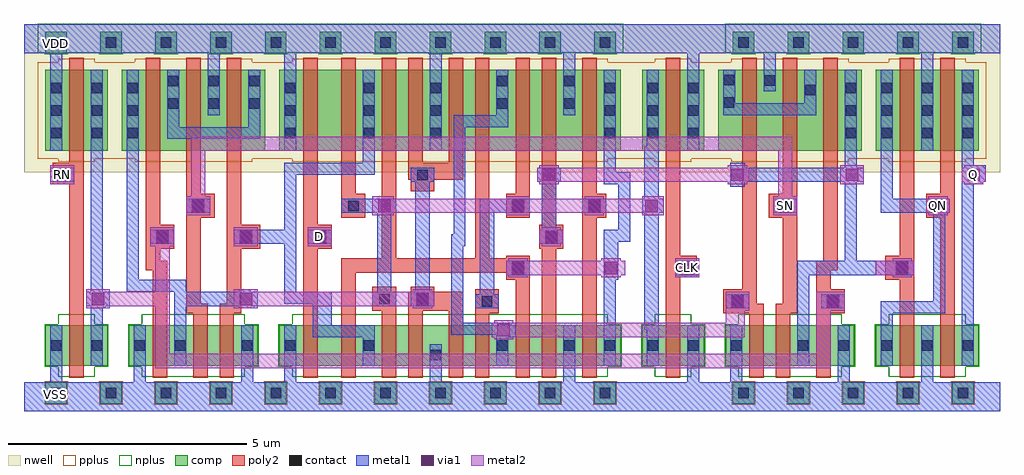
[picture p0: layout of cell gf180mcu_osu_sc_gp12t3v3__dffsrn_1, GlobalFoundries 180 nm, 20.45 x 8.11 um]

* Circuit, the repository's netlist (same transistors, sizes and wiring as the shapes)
* Copyright 2022 Google LLC
*
* Licensed under the Apache License, Version 2.0 (the "License");
* you may not use this file except in compliance with the License.
* You may obtain a copy of the License at
*
*      http://www.apache.org/licenses/LICENSE-2.0
*
* Unless required by applicable law or agreed to in writing, software
* distributed under the License is distributed on an "AS IS" BASIS,
* WITHOUT WARRANTIES OR CONDITIONS OF ANY KIND, either express or implied.
* See the License for the specific language governing permissions and
* limitations under the License.

.inc "/import/yukari1/lrburle/OSU_180/char/techfiles/design.hspice"
.lib "/import/yukari1/lrburle/OSU_180/char/techfiles/sm141064.hspice" typical

.GLOBAL VDD
.GLOBAL VSS

.option scale=0.05u

.subckt gf180mcu_osu_sc_gp12t3v3__dffsrn_1 D SN RN Q QN CLK
X0 a_156_109 a_133_14 a_82_14 VDD pmos_3p3 w=34 l=6
X1 VSS a_41_109 a_156_19 VSS nmos_3p3 w=17 l=6
X2 a_82_14 a_133_81 a_123_109 VDD pmos_3p3 w=34 l=6
X3 a_212_109 a_133_81 a_195_19 VDD pmos_3p3 w=34 l=6
X4 VDD CLK a_133_81 VDD pmos_3p3 w=34 l=6
X5 a_195_19 a_133_81 a_184_19 VSS nmos_3p3 w=17 l=6
X6 a_133_14 a_133_81 VSS VSS nmos_3p3 w=17 l=6
X7 a_25_19 RN VDD VDD pmos_3p3 w=34 l=6
X8 a_123_109 D VDD VDD pmos_3p3 w=34 l=6
X9 a_41_109 a_25_19 VSS VSS nmos_3p3 w=17 l=6
X10 VSS a_216_68 QN VSS nmos_3p3 w=17 l=6
X11 Q QN VDD VDD pmos_3p3 w=34 l=6
X12 a_310_19 a_195_19 VSS VSS nmos_3p3 w=17 l=6
X13 VDD a_216_68 QN VDD pmos_3p3 w=34 l=6
X14 a_25_19 RN VSS VSS nmos_3p3 w=17 l=6
X15 a_82_14 a_133_14 a_123_19 VSS nmos_3p3 w=17 l=6
X16 VSS CLK a_133_81 VSS nmos_3p3 w=17 l=6
X17 a_216_68 SN a_310_19 VSS nmos_3p3 w=17 l=6
X18 a_212_19 a_133_14 a_195_19 VSS nmos_3p3 w=17 l=6
X19 VSS a_216_68 a_212_19 VSS nmos_3p3 w=17 l=6
X20 a_77_19 SN a_41_109 VSS nmos_3p3 w=17 l=6
X21 a_57_109 a_82_14 VDD VDD pmos_3p3 w=34 l=6
X22 Q QN VSS VSS nmos_3p3 w=17 l=6
X23 a_216_68 a_25_19 a_291_109 VDD pmos_3p3 w=34 l=6
X24 a_57_109 a_25_19 a_41_109 VDD pmos_3p3 w=34 l=6
X25 VDD SN a_57_109 VDD pmos_3p3 w=34 l=6
X26 a_195_19 a_133_14 a_184_109 VDD pmos_3p3 w=34 l=6
X27 a_291_109 SN VDD VDD pmos_3p3 w=34 l=6
X28 VDD a_195_19 a_291_109 VDD pmos_3p3 w=34 l=6
X29 a_184_109 a_41_109 VDD VDD pmos_3p3 w=34 l=6
X30 VSS a_82_14 a_77_19 VSS nmos_3p3 w=17 l=6
X31 a_156_19 a_133_81 a_82_14 VSS nmos_3p3 w=17 l=6
X32 VDD a_41_109 a_156_109 VDD pmos_3p3 w=34 l=6
X33 a_133_14 a_133_81 VDD VDD pmos_3p3 w=34 l=6
X34 a_123_19 D VSS VSS nmos_3p3 w=17 l=6
X35 VDD a_216_68 a_212_109 VDD pmos_3p3 w=34 l=6
X36 a_184_19 a_41_109 VSS VSS nmos_3p3 w=17 l=6
X37 VSS a_25_19 a_216_68 VSS nmos_3p3 w=17 l=6
.ends

** hspice subcircuit dictionary

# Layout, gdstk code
import gdstk
lib = gdstk.Library(unit=1e-6, precision=1e-09)
def R(c, l, rs):  # rectangles x0, y0, x1, y1
    for r in rs: c.add(gdstk.rectangle(r[:2], r[2:], *l))
def A(c, l, x, y, w, h, nx, ny, dx, dy):  # array of equal rectangles
    R(c, l, [(x+i*dx, y+j*dy, x+i*dx+w, y+j*dy+h) for i in range(nx) for j in range(ny)])
nwell = (21, 0)
comp = (22, 0)
poly2 = (30, 0)
pplus = (31, 0)
nplus = (32, 0)
contact = (33, 0)
metal1 = (34, 0)
via1 = (35, 0)
metal2 = (36, 0)

gf180mcu_osu_sc_gp12t3v3 = lib.new_cell('gf180mcu_osu_sc_gp12t3v3__dffsrn_1')
R(gf180mcu_osu_sc_gp12t3v3, nwell, [(0,5,20.45,8.1)])
A(gf180mcu_osu_sc_gp12t3v3, comp, 0.45, 0.15, 0.45, 0.45, 11, 2, 1.15, 7.35)
A(gf180mcu_osu_sc_gp12t3v3, comp, 14.85, 0.15, 0.45, 0.45, 5, 2, 1.15, 7.35)
R(gf180mcu_osu_sc_gp12t3v3, comp, [(0.45,0.95,1.75,1.8), (2.2,0.95,4.9,1.8), (5.35,0.95,12.5,1.8), (12.95,0.95,14.25,1.8), (14.7,0.95,17.4,1.8), (17.85,0.95,20,1.8), (0.45,5.45,1.75,7.15), (2.05,5.45,5.05,7.15), (5.35,5.45,12.5,7.15), (12.95,5.45,14.25,7.15), (14.55,5.45,17.55,7.15), (17.85,5.45,20,7.15)])
R(gf180mcu_osu_sc_gp12t3v3, poly2, [(0.95,0.7,1.25,4.75), (2.7,0.7,3,2.95), (3.55,0.7,3.85,2.05), (4.1,0.7,4.4,2.05), (5.85,0.7,6.15,3.4), (6.65,0.7,6.95,2.9), (7.5,0.7,7.8,2.1), (8.05,0.7,8.35,2.1), (8.9,0.7,9.2,2.1), (9.45,0.7,9.75,2.05), (10.3,0.7,10.6,2.75), (10.85,0.7,11.15,3.4), (11.7,0.7,12,4.05), (13.45,0.7,13.75,2.8), (15.2,0.7,15.5,2.05), (15.75,0.7,16.05,2.05), (16.6,0.7,16.9,2.05), (18.35,0.7,18.65,2.75), (19.2,0.7,19.5,4.05), (3.4,2.05,3.85,2.25), (4.1,2.05,4.55,2.25), (9.45,2.05,9.95,2.55), (14.65,2.05,15.5,2.25), (15.75,2.05,16.2,2.25), (16.6,2.05,17.2,2.55), (7.3,2.1,7.8,2.6), (8.05,2.1,9.2,2.5), (3.4,2.25,3.7,4.05), (4.25,2.25,4.55,3.4), (14.65,2.25,15.35,2.55), (15.9,2.25,16.2,4.05), (8.1,2.5,8.6,2.6), (15.05,2.55,15.35,7.4), (16.6,2.55,16.9,2.95), (10.1,2.75,10.6,2.9), (18.05,2.75,18.65,3.25), (13.45,2.8,14.1,3.25), (6.65,2.9,10.6,3.2), (2.55,2.95,3,3.15), (16.6,2.95,17.05,3.15), (2.55,3.15,2.85,3.4), (16.75,3.15,17.05,7.4), (7.5,3.2,7.8,7.4), (9.45,3.2,9.75,7.4), (10.1,3.2,10.6,3.25), (13.45,3.25,13.75,7.4), (18.35,3.25,18.65,7.4), (2.55,3.4,3.15,3.9), (4.25,3.4,4.95,3.9), (5.85,3.4,6.45,3.9), (10.8,3.4,11.3,3.9), (2.55,3.9,2.85,7.4), (4.25,3.9,4.55,7.4), (5.85,3.9,6.15,7.4), (10.85,3.9,11.15,7.4), (3.4,4.05,4,4.55), (6.65,4.05,7.15,4.55), (10.1,4.05,10.6,4.55), (11.7,4.05,12.2,4.55), (15.6,4.05,16.2,4.55), (18.9,4.05,19.5,4.55), (3.4,4.55,3.7,7.4), (6.65,4.55,6.95,7.4), (10.3,4.55,10.6,7.4), (11.7,4.55,12,7.4), (15.9,4.55,16.2,7.4), (19.2,4.55,19.5,7.4), (8.1,4.6,8.6,4.85), (0.6,4.75,1.25,5.2), (8.05,4.85,9.2,5.2), (0.95,5.2,1.25,7.4), (8.05,5.2,8.35,7.4), (8.9,5.2,9.2,7.4)])
A(gf180mcu_osu_sc_gp12t3v3, pplus, 0.43, 0.13, 0.49, 0.49, 11, 1, 1.15, 0)
A(gf180mcu_osu_sc_gp12t3v3, pplus, 14.83, 0.13, 0.49, 0.49, 5, 1, 1.15, 0)
R(gf180mcu_osu_sc_gp12t3v3, pplus, [(0.72,5.22,1.48,5.29), (2.32,5.22,4.78,5.29), (5.62,5.22,12.23,5.29), (13.22,5.22,13.98,5.29), (14.82,5.22,17.28,5.29), (18.12,5.22,19.73,5.29), (0.29,5.29,20.16,7.31), (0.72,7.31,1.48,7.38), (2.32,7.31,4.78,7.38), (5.62,7.31,12.23,7.38), (13.22,7.31,13.98,7.38), (14.82,7.31,17.28,7.38), (18.12,7.31,19.73,7.38)])
A(gf180mcu_osu_sc_gp12t3v3, nplus, 0.43, 7.48, 0.49, 0.03, 11, 1, 1.15, 0)
A(gf180mcu_osu_sc_gp12t3v3, nplus, 14.83, 7.48, 0.49, 0.03, 5, 1, 1.15, 0)
R(gf180mcu_osu_sc_gp12t3v3, nplus, [(0.72,0.72,1.48,0.93), (2.47,0.72,4.63,0.93), (5.62,0.72,12.23,0.93), (13.22,0.72,13.98,0.93), (14.97,0.72,17.13,0.93), (18.12,0.72,19.73,0.93), (0.43,0.93,1.77,1.82), (2.18,0.93,4.92,1.82), (5.33,0.93,12.52,1.82), (12.93,0.93,14.27,1.82), (14.68,0.93,17.42,1.82), (17.83,0.93,20.02,1.82), (0.72,1.82,1.48,2.03), (2.47,1.82,4.63,2.03), (5.62,1.82,12.23,2.03), (13.22,1.82,13.98,2.03), (14.97,1.82,17.13,2.03), (18.12,1.82,19.73,2.03), (0.29,7.51,12.56,8.11), (14.69,7.51,20.06,8.11)])
A(gf180mcu_osu_sc_gp12t3v3, contact, 0.565, 0.265, 0.22, 0.22, 11, 2, 1.15, 7.35)
A(gf180mcu_osu_sc_gp12t3v3, contact, 14.965, 0.265, 0.22, 0.22, 5, 2, 1.15, 7.35)
A(gf180mcu_osu_sc_gp12t3v3, contact, 17.965, 1.265, 0.22, 0.22, 3, 2, 0.85, 4.455)
A(gf180mcu_osu_sc_gp12t3v3, contact, 0.565, 5.72, 0.22, 0.22, 1, 3, 0, 0.47)
A(gf180mcu_osu_sc_gp12t3v3, contact, 1.415, 5.72, 0.22, 0.22, 1, 3, 0, 0.47)
A(gf180mcu_osu_sc_gp12t3v3, contact, 2.165, 5.72, 0.22, 0.22, 1, 3, 0, 0.47)
A(gf180mcu_osu_sc_gp12t3v3, contact, 5.465, 5.72, 0.22, 0.22, 1, 3, 0, 0.47)
A(gf180mcu_osu_sc_gp12t3v3, contact, 7.115, 5.72, 0.22, 0.22, 1, 3, 0, 0.47)
A(gf180mcu_osu_sc_gp12t3v3, contact, 8.515, 5.72, 0.22, 0.22, 1, 3, 0, 0.47)
A(gf180mcu_osu_sc_gp12t3v3, contact, 12.165, 5.72, 0.22, 0.22, 1, 3, 0, 0.47)
A(gf180mcu_osu_sc_gp12t3v3, contact, 13.065, 5.72, 0.22, 0.22, 1, 3, 0, 0.47)
A(gf180mcu_osu_sc_gp12t3v3, contact, 13.915, 5.72, 0.22, 0.22, 1, 3, 0, 0.47)
A(gf180mcu_osu_sc_gp12t3v3, contact, 17.215, 5.72, 0.22, 0.22, 1, 3, 0, 0.47)
A(gf180mcu_osu_sc_gp12t3v3, contact, 17.965, 6.19, 0.22, 0.22, 3, 2, 0.85, 0.47)
A(gf180mcu_osu_sc_gp12t3v3, contact, 3.015, 6.33, 0.22, 0.22, 3, 2, 0.85, 0.47)
R(gf180mcu_osu_sc_gp12t3v3, contact, [(8.515,1.065,8.735,1.285), (0.565,1.265,0.785,1.485), (1.415,1.265,1.635,1.485), (2.315,1.265,2.535,1.485), (3.165,1.265,3.385,1.485), (4.565,1.265,4.785,1.485), (5.465,1.265,5.685,1.485), (7.115,1.265,7.335,1.485), (9.915,1.265,10.135,1.485), (11.315,1.265,11.535,1.485), (12.165,1.265,12.385,1.485), (13.065,1.265,13.285,1.485), (13.915,1.265,14.135,1.485), (14.815,1.265,15.035,1.485), (16.215,1.265,16.435,1.485), (17.065,1.265,17.285,1.485), (9.59,2.19,9.81,2.41), (14.84,2.19,15.06,2.41), (16.84,2.19,17.06,2.41), (7.44,2.24,7.66,2.46), (8.24,2.24,8.46,2.46), (10.24,2.89,10.46,3.11), (18.29,2.89,18.51,3.11), (13.765,2.915,13.985,3.135), (2.79,3.54,3.01,3.76), (4.54,3.54,4.76,3.76), (6.09,3.54,6.31,3.76), (10.94,3.54,11.16,3.76), (3.54,4.19,3.76,4.41), (6.79,4.19,7.01,4.41), (10.24,4.19,10.46,4.41), (11.84,4.19,12.06,4.41), (15.84,4.19,16.06,4.41), (19.04,4.19,19.26,4.41), (8.24,4.84,8.46,5.06), (0.715,4.865,0.935,5.085), (9.915,6.33,10.135,6.55), (11.315,6.33,11.535,6.55), (14.665,6.355,14.885,6.575), (16.365,6.615,16.585,6.835), (9.915,6.8,10.135,7.02), (11.315,6.8,11.535,7.02), (15.515,6.815,15.735,7.035), (14.665,6.825,14.885,7.045)])
R(gf180mcu_osu_sc_gp12t3v3, metal1, [(0,0,20.45,0.6), (0.55,0.6,0.8,1.8), (2.3,0.6,2.55,1.8), (4.55,0.6,4.8,1.8), (5.45,0.6,5.7,1.8), (8.5,0.6,8.75,1.4), (11.3,0.6,11.55,1.8), (13.9,0.6,14.15,1.8), (14.8,0.6,15.05,1.8), (17.05,0.6,17.3,1.8), (18.8,0.6,19.05,1.8), (1.4,0.95,1.65,2.15), (3.15,0.95,3.4,2.2), (7.1,0.95,7.35,1.55), (9.9,0.95,10.15,1.55), (12.15,0.95,12.4,2.75), (13.05,0.95,13.3,1.7), (16.2,0.95,16.45,2.85), (17.95,0.95,18.2,2.05), (19.65,0.95,19.9,4.75), (6.05,1.55,7.35,1.8), (9.9,1.55,10.3,1.6), (8.95,1.6,10.3,1.85), (13,1.7,13.3,4.15), (6.05,1.8,6.45,2.25), (8.95,1.85,9.2,3.45), (17.95,2.05,19.3,2.3), (1.4,2.15,1.7,2.2), (4.5,2.15,4.75,2.2), (9.45,2.15,9.95,2.45), (14.7,2.15,15.2,2.45), (16.7,2.15,17.2,2.45), (1.3,2.2,1.8,2.5), (3.15,2.2,4.9,2.5), (7.3,2.2,7.8,2.5), (8.1,2.2,8.6,2.5), (5.45,2.25,6.45,2.5), (19.05,2.3,19.3,4.15), (9.55,2.45,9.85,4.15), (1.4,2.5,1.65,7.15), (2.15,2.5,3.4,2.75), (4.5,2.5,4.75,2.55), (5.45,2.5,5.7,3.5), (7.4,2.5,7.7,4.15), (8.2,2.5,8.5,4.8), (2.15,2.75,2.4,7.15), (12.15,2.75,12.45,3.55), (10.1,2.85,10.6,3.15), (13.65,2.85,14.15,3.15), (16.2,2.85,18.65,3.15), (17.2,3.15,17.45,4.8), (8.95,3.45,9.25,3.7), (2.65,3.5,3.15,3.8), (4.4,3.5,5.7,3.8), (5.95,3.5,6.45,3.8), (10.8,3.5,11.3,3.8), (12.15,3.55,12.7,3.8), (9,3.7,9.25,5.95), (5.45,3.8,5.7,4.95), (10.85,3.8,11.15,4.8), (12.45,3.8,12.7,4.75), (3.4,4.15,3.9,4.45), (6.65,4.15,7.8,4.45), (9.55,4.15,10.6,4.45), (11.7,4.15,12.2,4.45), (12.95,4.15,13.4,4.45), (15.7,4.15,16.2,4.45), (17.95,4.15,19.4,4.45), (13,4.45,13.3,5.55), (17.95,4.45,18.2,7.15), (14.8,4.7,15.1,4.8), (12.15,4.75,12.7,5), (19.65,4.75,20.1,4.8), (0.55,4.8,1.05,5.1), (8.1,4.8,8.6,5.1), (10.75,4.8,11.25,5.1), (14.8,4.8,17.6,5.1), (19.65,4.8,20.15,5.15), (5.45,4.95,7.35,5.2), (12.15,5,12.4,7.15), (14.8,5.1,15.1,5.2), (17.2,5.1,17.45,7.15), (19.65,5.15,19.9,7.15), (7.1,5.2,7.35,7.15), (0.55,5.45,0.8,7.5), (5.45,5.45,5.7,7.5), (8.5,5.45,8.75,7.5), (13.9,5.45,14.15,7.5), (18.8,5.45,19.05,7.5), (13.05,5.55,13.3,7.15), (3,5.7,4.95,5.95), (3,5.95,3.25,7.15), (4.7,5.95,4.95,7.15), (9,5.95,10.15,6.2), (3.85,6.2,4.1,7.5), (9.9,6.2,10.15,7.15), (11.3,6.2,11.55,7.5), (14.65,6.2,16.6,6.45), (14.65,6.45,14.9,7.15), (16.35,6.45,16.6,7.15), (15.5,6.7,15.75,7.5), (0,7.5,20.45,8.1)])
R(gf180mcu_osu_sc_gp12t3v3, via1, [(9.92,1.57,10.18,1.83), (14.82,2.17,15.08,2.43), (16.82,2.17,17.08,2.43), (1.42,2.22,1.68,2.48), (4.52,2.22,4.78,2.48), (8.22,2.22,8.48,2.48), (10.22,2.87,10.48,3.13), (12.17,2.87,12.43,3.13), (13.77,2.87,14.03,3.13), (18.27,2.87,18.53,3.13), (2.77,3.52,3.03,3.78), (4.52,3.52,4.78,3.78), (6.07,3.52,6.33,3.78), (10.92,3.52,11.18,3.78), (3.52,4.17,3.78,4.43), (7.42,4.17,7.68,4.43), (10.22,4.17,10.48,4.43), (11.82,4.17,12.08,4.43), (13.02,4.17,13.28,4.43), (15.82,4.17,16.08,4.43), (19.02,4.17,19.28,4.43), (0.67,4.82,0.93,5.08), (10.87,4.82,11.13,5.08), (14.82,4.82,15.08,5.08), (17.22,4.82,17.48,5.08), (19.77,4.82,20.03,5.08)])
R(gf180mcu_osu_sc_gp12t3v3, metal2, [(2.75,0.9,16.9,1.2), (2.75,1.2,3.05,2.2), (16.6,1.2,16.9,2.1), (9.85,1.5,10.25,1.55), (9.8,1.55,15.1,1.85), (9.85,1.85,10.25,1.9), (14.7,1.85,15.1,2.1), (14.7,2.1,15.2,2.5), (16.6,2.1,17.2,2.5), (1.3,2.15,1.8,2.2), (4.4,2.15,4.9,2.2), (8.15,2.15,8.55,2.2), (1.3,2.2,3.05,2.5), (4.4,2.2,8.6,2.5), (1.3,2.5,1.8,2.55), (2.75,2.5,3.05,3.45), (4.4,2.5,4.9,2.55), (8.15,2.5,8.55,2.55), (10.15,2.8,10.55,2.85), (12.1,2.8,12.5,2.85), (13.65,2.8,14.15,3.2), (18.2,2.8,18.6,2.85), (10.1,2.85,12.6,3.15), (17.85,2.85,18.65,3.15), (10.15,3.15,10.55,3.2), (12.1,3.15,12.5,3.2), (18.2,3.15,18.6,3.2), (2.65,3.45,3.15,3.85), (4.4,3.45,4.9,3.85), (5.95,3.45,6.45,3.85), (10.85,3.45,11.25,3.5), (10.8,3.5,11.3,3.8), (10.85,3.8,11.25,3.85), (3.4,4.1,3.9,4.5), (7.3,4.1,7.75,4.15), (10.1,4.1,10.6,4.15), (11.75,4.1,12.15,4.15), (12.95,4.1,13.4,4.15), (15.7,4.1,16.2,4.5), (18.95,4.1,19.35,4.15), (7.3,4.15,13.4,4.45), (18.9,4.15,19.4,4.45), (7.3,4.45,7.75,4.5), (10.1,4.45,10.6,4.5), (11.75,4.45,12.15,4.5), (12.95,4.45,13.4,4.5), (18.95,4.45,19.35,4.5), (3.5,4.5,3.8,5.45), (15.8,4.5,16.1,5.45), (0.55,4.75,1.05,5.15), (10.8,4.75,11.2,4.8), (14.75,4.75,15.15,4.8), (17.1,4.75,17.6,5.15), (19.7,4.75,20.1,4.8), (10.75,4.8,15.2,5.1), (19.65,4.8,20.15,5.1), (10.8,5.1,11.2,5.15), (14.75,5.1,15.15,5.15), (19.7,5.1,20.1,5.15), (3.5,5.45,16.1,5.75)])
gf180mcu_osu_sc_gp12t3v3.add(gdstk.Label('VSS', (0.65,0.35), layer=34, texttype=0))
gf180mcu_osu_sc_gp12t3v3.add(gdstk.Label('VDD', (0.65,7.7), layer=34, texttype=0))
gf180mcu_osu_sc_gp12t3v3.add(gdstk.Label('D', (6.2,3.65), layer=36, texttype=10))
gf180mcu_osu_sc_gp12t3v3.add(gdstk.Label('SN', (15.95,4.3), layer=36, texttype=10))
gf180mcu_osu_sc_gp12t3v3.add(gdstk.Label('RN', (0.8,4.95), layer=36, texttype=10))
gf180mcu_osu_sc_gp12t3v3.add(gdstk.Label('Q', (19.9,4.95), layer=36, texttype=10))
gf180mcu_osu_sc_gp12t3v3.add(gdstk.Label('QN', (19.15,4.3), layer=36, texttype=10))
gf180mcu_osu_sc_gp12t3v3.add(gdstk.Label('CLK', (13.9,3), layer=36, texttype=10))

lib.write_gds('gf180mcu_osu_sc_gp12t3v3__dffsrn_1.gds')
